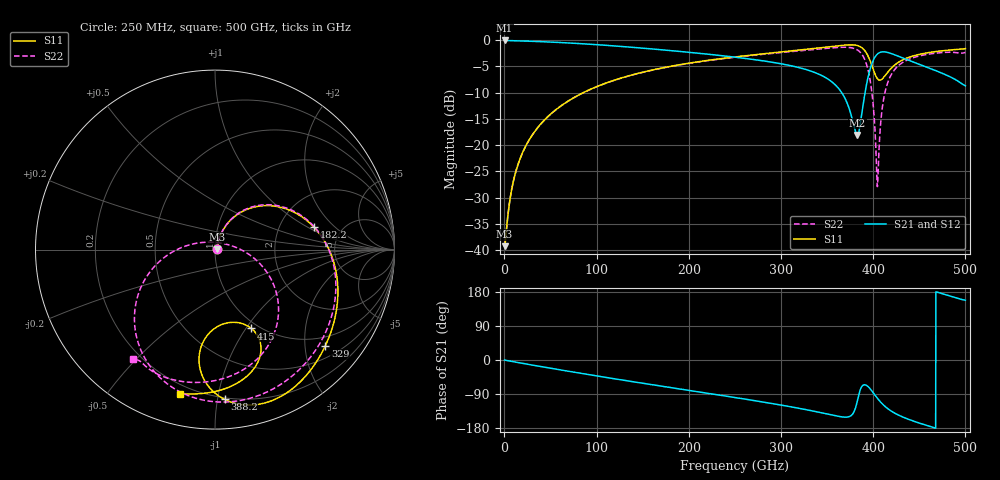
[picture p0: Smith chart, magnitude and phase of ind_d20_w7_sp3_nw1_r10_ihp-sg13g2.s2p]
! Touchstone simulation data from EMX version 2023.1.0
! Thu Apr 24 17:35:10 2025
! EMX was run on gilbert.lte.e-technik.uni-erlangen.de as:
! /opt/emx/EMX_23.10.000/tools.lnx86/emx/bin/64bit/emx
! /home/users/simone/cds_SG13G2_lehre/cds/cdsTECL/ind/ind_d20_w7_sp3_nw1_r10.gds
! ind EMX_proc/sg13_al.proc --cadence-pins=1 --label-depth=0
! --label-snap-distance=0.25 --port=n=n:ng --include=n --port=p=p:pg --include=p
! --log-file=/home/users/simone/cds_SG13G2_lehre/cds/cdsTECL/ind/ind_d20_w7_sp3_nw1_r10_emx.log
! --format=touchstone
! --s-file=/home/users/simone/cds_SG13G2_lehre/cds/cdsTECL/ind/ind_d20_w7_sp3_nw1_r10.snp
! --include-port-order --include-command-line --print-command-line
! --edge-width=0.075 --thickness=0.125 --via-separation=1.2 --3d=*
! --via-sidewall=* --via-inductance=* --quasistatic --sweep 0 500e9
! --sweep-step=2.5e+08 --solve-for-s --parallel=0 --simultaneous-frequencies=0
! --max-memory=50 --print-connectivity
! Port order:
! 1 n (n:ng)
! 2 p (p:pg)
! SG13 cross section, version 22 November 2023
! parameters that can be controlled from EMX options line:
! totalthick=300 (total chip thickness, silicon + BEOL)
! ignore_metalsize=0.0 (remove small shapes that are less or equal than this)
! ignore_slotsize=0.0 (remove holes that are less or equal than this)
! via_spacing_factor=1.5 (merge vias that are given multiple of minimum via spacing)
! Known limitations: Rsil, Rppd and Rhigh results are not accurate for small dimensions
# Hz S RI R 50
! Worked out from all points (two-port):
!   2000 points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, 250 MHz to 500 GHz, reference 50 ohm
!   highest |S21| = -0.09 dB at 250 MHz (marker M1); lowest = -18.1 dB at 382.8 GHz (marker M2)
!   |S21| within 3 dB of the highest: start of sweep to 241.2 GHz; 402.5 GHz to 427.3 GHz (24.72 GHz wide, 5.96 % of centre)
!   lowest |S11| = -39.2 dB at 250 MHz (marker M3), VSWR 1.02, Z = 51.1 + j0.124 ohm
!   |S11| at or under -10 dB: start of sweep to 85.85 GHz
!   |S22| runs from -39.2 to -1.4 dB; largest |S21 - S12| = 0
!   S11 on the Smith chart (normalised r, x): 250 MHz: 1.02, +0.00; 182.2 GHz: 3.14, +1.15; 329 GHz: 0.77, -2.46; 388.2 GHz: 0.19, -1.05; 415 GHz: 0.92, -1.06; 500 GHz: 0.15, -0.78
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2.5e8  0.0109 0.00122  0.9891 -0.00224  0.9891 -0.00224  0.0109 0.00121
9.75e9  0.0176 0.0417  0.9805 -0.0775  0.9805 -0.0775  0.0175 0.0418
2.35e10  0.0362 0.0924  0.9589 -0.1776  0.9589 -0.1776  0.0358 0.0925
4.75e10  0.0885 0.1655  0.8961 -0.3373  0.8961 -0.3373  0.0869 0.1661
8.375e10  0.2038 0.2331  0.7501 -0.5348  0.7501 -0.5348  0.1997 0.2359
1.67e11  0.5061 0.1665  0.3068 -0.7513  0.3068 -0.7513  0.5008 0.1756
1.8225e11  0.5517 0.1248  0.2241 -0.757  0.2241 -0.757  0.547 0.1338
2.5025e11  0.6765 -0.1347  -0.1077 -0.6772  -0.1077 -0.6772  0.67 -0.1417
3.29e11  0.6149 -0.5356  -0.3453 -0.3851  -0.3453 -0.3851  0.5303 -0.6016
3.335e11  0.6018 -0.5621  -0.349 -0.3608  -0.349 -0.3608  0.5051 -0.6316
3.64e11  0.4467 -0.7625  -0.2864 -0.1695  -0.2864 -0.1695  0.2044 -0.8257
3.8275e11  0.1839 -0.8662  -0.0395 -0.118  -0.0395 -0.118  -0.2352 -0.7694
3.8825e11  0.0532 -0.8345  0.0803 -0.201  0.0803 -0.201  -0.3911 -0.6044
3.9725e11  -0.0889 -0.6081  0.1178 -0.5367  0.1178 -0.5367  -0.3647 -0.1271
4.045e11  0.0148 -0.4285  -0.1381 -0.7203  -0.1381 -0.7203  0.000221 0.0402
4.0625e11  0.0541 -0.412  -0.2087 -0.7236  -0.2087 -0.7236  0.0848 0.0238
4.1025e11  0.1355 -0.4082  -0.3465 -0.6891  -0.3465 -0.6891  0.2315 -0.06
4.15e11  0.203 -0.4396  -0.4583 -0.6105  -0.4583 -0.6105  0.3238 -0.1888
4.1675e11  0.2197 -0.4555  -0.4872 -0.5786  -0.4872 -0.5786  0.3404 -0.2355
4.325e11  0.2495 -0.5993  -0.5867 -0.3267  -0.5867 -0.3267  0.2919 -0.5414
4.5225e11  0.162 -0.7184  -0.5642 -0.118  -0.5642 -0.118  0.0779 -0.7075
5e11  -0.194 -0.8028  -0.3389 0.139  -0.3389 0.139  -0.4556 -0.6094
